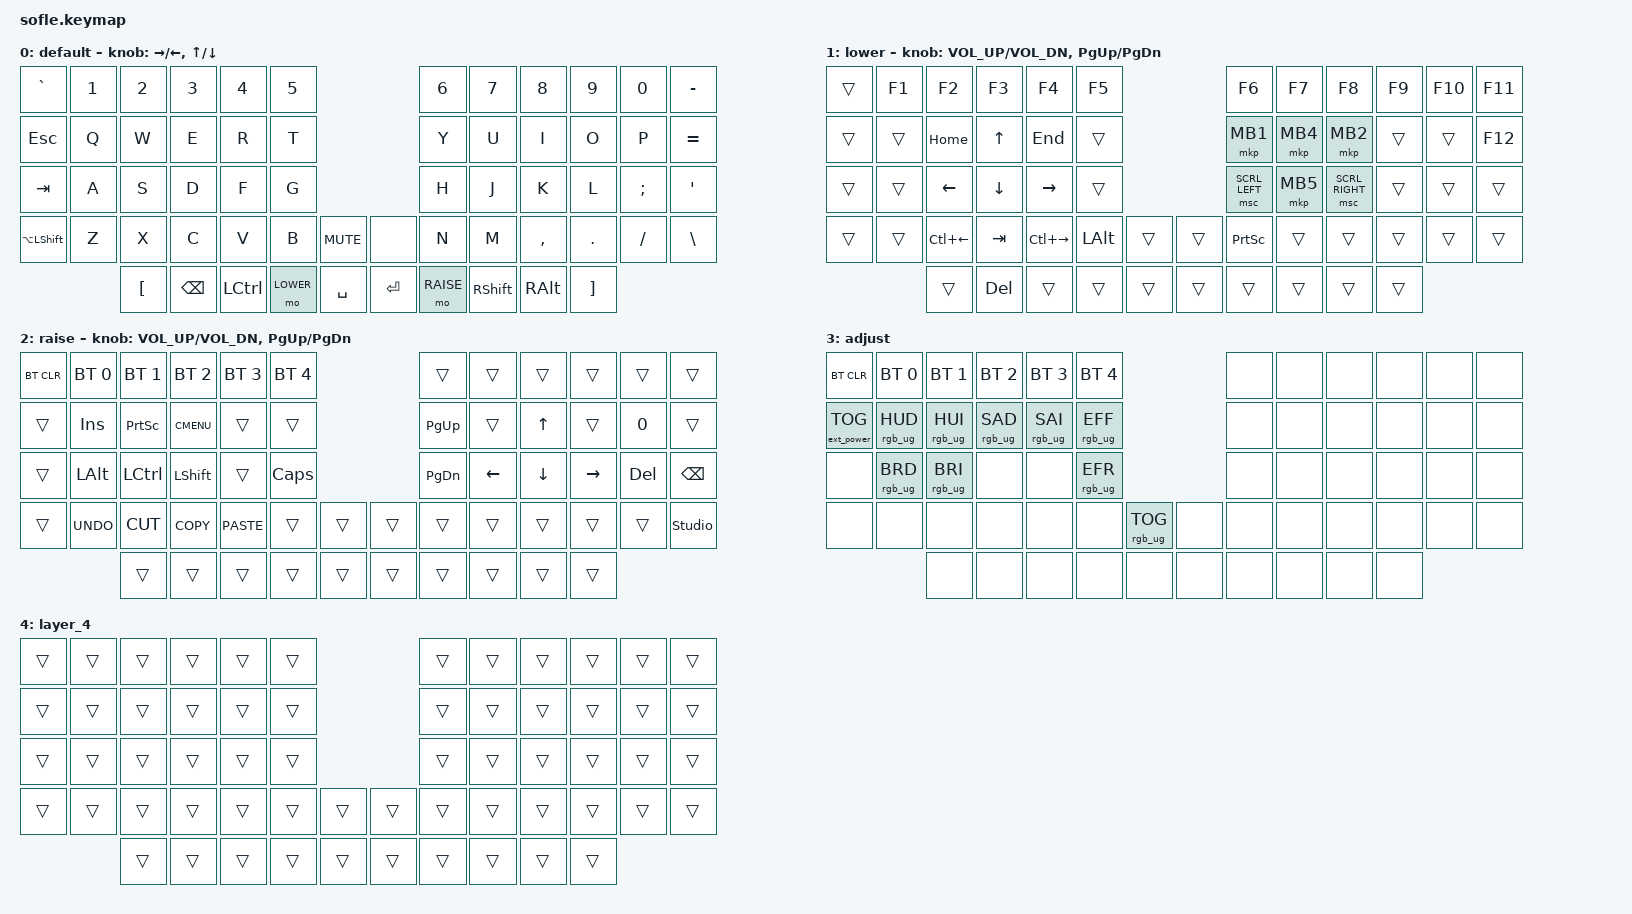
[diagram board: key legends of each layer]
/*
 * Copyright (c) 2020 The ZMK Contributors
 *
 * SPDX-License-Identifier: MIT
 */

#include <behaviors.dtsi>
#include <dt-bindings/zmk/bt.h>
#include <dt-bindings/zmk/ext_power.h>
#include <dt-bindings/zmk/keys.h>
#include <dt-bindings/zmk/pointing.h>
#include <dt-bindings/zmk/rgb.h>

#define BASE 0
#define LOWER 1
#define RAISE 2
#define ADJUST 3

/ {
    // Activate ADJUST layer by pressing raise and lower

    conditional_layers {
        compatible = "zmk,conditional-layers";

        adjust_layer {
            if-layers = <LOWER RAISE>;
            then-layer = <ADJUST>;
        };
    };

    keymap {
        compatible = "zmk,keymap";

        default_layer {
            display-name = "default";

            // ------------------------------------------------------------------------------------------------------------
            // |   `   |  1  |  2  |  3   |  4   |  5   |                   |  6   |  7    |  8    |  9   |   0   |       |
            // |  ESC  |  Q  |  W  |  E   |  R   |  T   |                   |  Y   |  U    |  I    |  O   |   P   | BKSPC |
            // |  TAB  |  A  |  S  |  D   |  F   |  G   |                   |  H   |  J    |  K    |  L   |   ;   |   '   |
            // | SHIFT |  Z  |  X  |  C   |  V   |  B   |  MUTE  |  |       |  N   |  M    |  ,    |  .   |   /   | SHIFT |
            //               | GUI | ALT  | CTRL | LOWER|  ENTER |  | SPACE | RAISE| CTRL  | ALT   | GUI  |

            bindings = <
&kp GRAVE      &kp N1  &kp N2            &kp N3         &kp N4     &kp N5                              &kp N6     &kp N7     &kp N8     &kp N9             &kp N0    &kp MINUS
&kp ESC        &kp Q   &kp W             &kp E          &kp R      &kp T                               &kp Y      &kp U      &kp I      &kp O              &kp P     &kp EQUAL
&kp TAB        &kp A   &kp S             &kp D          &kp F      &kp G                               &kp H      &kp J      &kp K      &kp L              &kp SEMI  &kp SQT
&kp LA(LSHFT)  &kp Z   &kp X             &kp C          &kp V      &kp B      &kp C_MUTE    &none      &kp N      &kp M      &kp COMMA  &kp DOT            &kp FSLH  &kp BACKSLASH
                       &kp LEFT_BRACKET  &kp BACKSPACE  &kp LCTRL  &mo LOWER  &kp SPACE     &kp ENTER  &mo RAISE  &kp RSHFT  &kp RALT   &kp RIGHT_BRACKET
            >;

            sensor-bindings =
                <&inc_dec_kp RIGHT_ARROW LEFT_ARROW>,
                <&inc_dec_kp UP_ARROW DOWN_ARROW>;
        };

        lower_layer {
            display-name = "lower";

            // TODO: Some binds are waiting for shifted keycode support.
            // ------------------------------------------------------------------------------------------------------------
            // |       |  F1 |  F2 |  F3  |  F4  |  F5  |                   |  F6  |  F7   |  F8   |  F9  |  F10  |  F11  |
            // |   `   |  1  |  2  |  3   |  4   |  5   |                   |  6   |  7    |  8    |  9   |   0   |  F12  |
            // |       |  !  |  @  |  #   |  $   |  %   |                   |  ^   |  &    |  *    |  (   |   )   |   |   |
            // |       |  =  |  -  |  +   |  {   |  }   |        |  |       |  [   |  ]    |  ;    |  :   |   \   |       |
            //               |     |      |      |      |        |  |       |      |       |       |      |

            bindings = <
&trans  &kp F1  &kp F2              &kp F3          &kp F4         &kp F5                          &kp F6           &kp F7    &kp F8           &kp F9  &kp F10  &kp F11
&trans  &trans  &kp HOME            &kp UP_ARROW    &kp END        &trans                          &mkp MB1         &mkp MB4  &mkp MB2         &trans  &trans   &kp F12
&trans  &trans  &kp LEFT            &kp DOWN_ARROW  &kp RIGHT      &trans                          &msc SCRL_LEFT   &mkp MB5  &msc SCRL_RIGHT  &trans  &trans   &trans
&trans  &trans  &kp LC(LEFT_ARROW)  &kp TAB         &kp LC(RIGHT)  &kp LEFT_ALT  &trans    &trans  &kp PRINTSCREEN  &trans    &trans           &trans  &trans   &trans
                &trans              &kp DELETE      &trans         &trans        &trans    &trans  &trans           &trans    &trans           &trans
            >;

            sensor-bindings = <&inc_dec_kp C_VOL_UP C_VOL_DN &inc_dec_kp PG_UP PG_DN>;
        };

        raise_layer {
            display-name = "raise";

            // ------------------------------------------------------------------------------------------------------------
            // | BTCLR | BT1  | BT2  |  BT3  |  BT4  |  BT5 |                |      |      |       |      |       |       |
            // |       | INS  | PSCR | GUI   |       |      |                | PGUP |      |   ^   |      |       |       |
            // |       | ALT  | CTRL | SHIFT |       | CAPS |                | PGDN |   <- |   v   |  ->  |  DEL  | BKSPC |
            // |       | UNDO | CUT  | COPY  | PASTE |      |      |  |      |      |      |       |      |       |       |
            //                |      |       |       |      |      |  |      |      |      |       |      |

            bindings = <
&bt BT_CLR  &bt BT_SEL 0  &bt BT_SEL 1  &bt BT_SEL 2  &bt BT_SEL 3  &bt BT_SEL 4                    &trans     &trans    &trans    &trans     &trans   &trans
&trans      &kp INS       &kp PSCRN     &kp K_CMENU   &trans        &trans                          &kp PG_UP  &trans    &kp UP    &trans     &kp N0   &trans
&trans      &kp LALT      &kp LCTRL     &kp LSHFT     &trans        &kp CLCK                        &kp PG_DN  &kp LEFT  &kp DOWN  &kp RIGHT  &kp DEL  &kp BSPC
&trans      &kp K_UNDO    &kp K_CUT     &kp K_COPY    &kp K_PASTE   &trans        &trans    &trans  &trans     &trans    &trans    &trans     &trans   &studio_unlock
                          &trans        &trans        &trans        &trans        &trans    &trans  &trans     &trans    &trans    &trans
            >;

            sensor-bindings = <&inc_dec_kp C_VOL_UP C_VOL_DN &inc_dec_kp PG_UP PG_DN>;
        };

        adjust_layer {
            // ----------------------------------------------------------------------------------------------------------------------------
            // | BTCLR  |  BT1    |  BT2    |   BT3   |   BT4   |   BT5   |                  |      |      |       |      |       |       |
            // | EXTPWR | RGB_HUD | RGB_HUI | RGB_SAD | RGB_SAI | RGB_EFF |                  |      |      |       |      |       |       |
            // |        | RGB_BRD | RGB_BRI |         |         |         |                  |      |      |       |      |       |       |
            // |        |         |         |         |         |         | RGB_TOG | |      |      |      |       |      |       |       |
            //                    |         |         |         |         |         | |      |      |      |       |      |

            display-name = "adjust";
            bindings = <
&bt BT_CLR         &bt BT_SEL 0     &bt BT_SEL 1     &bt BT_SEL 2     &bt BT_SEL 3     &bt BT_SEL 4                               &none  &none  &none  &none  &none  &none
&ext_power EP_TOG  &rgb_ug RGB_HUD  &rgb_ug RGB_HUI  &rgb_ug RGB_SAD  &rgb_ug RGB_SAI  &rgb_ug RGB_EFF                            &none  &none  &none  &none  &none  &none
&none              &rgb_ug RGB_BRD  &rgb_ug RGB_BRI  &none            &none            &rgb_ug RGB_EFR                            &none  &none  &none  &none  &none  &none
&none              &none            &none            &none            &none            &none            &rgb_ug RGB_TOG    &none  &none  &none  &none  &none  &none  &none
                                    &none            &none            &none            &none            &none              &none  &none  &none  &none  &none
            >;
        };

        layer_4 {
            bindings = <
&trans  &trans  &trans  &trans  &trans  &trans                    &trans  &trans  &trans  &trans  &trans  &trans
&trans  &trans  &trans  &trans  &trans  &trans                    &trans  &trans  &trans  &trans  &trans  &trans
&trans  &trans  &trans  &trans  &trans  &trans                    &trans  &trans  &trans  &trans  &trans  &trans
&trans  &trans  &trans  &trans  &trans  &trans  &trans    &trans  &trans  &trans  &trans  &trans  &trans  &trans
                &trans  &trans  &trans  &trans  &trans    &trans  &trans  &trans  &trans  &trans
            >;
        };
    };
};
